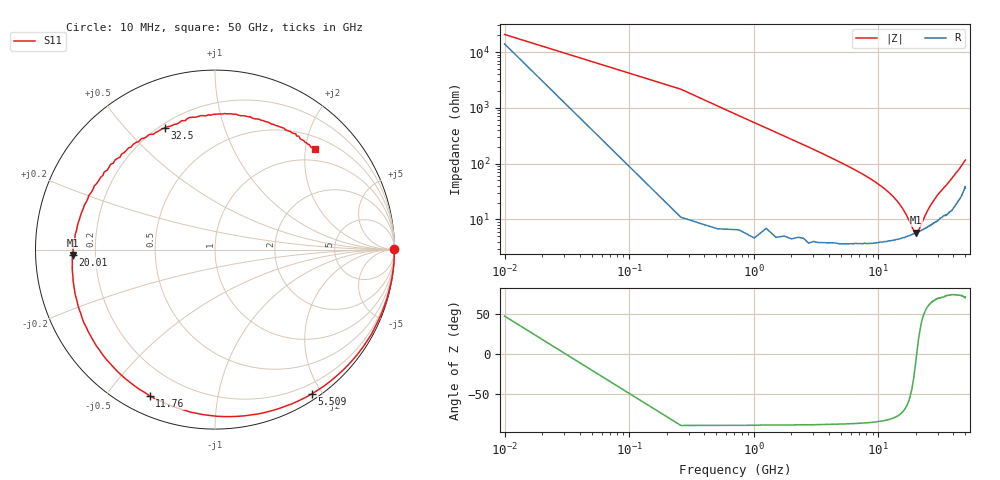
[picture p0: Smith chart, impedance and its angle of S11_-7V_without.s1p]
!Agilent Technologies,N5227A,US51270434,A.10.00.00
!Agilent N5227A: A.10.00.00
!Date: Thursday, February 26, 2026 11:56:34
!Correction: S11(Full 1 Port(1))
!S1P File: Measurement: S11:
# Hz S  dB  R 50
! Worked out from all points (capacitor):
!   201 points, 10 MHz to 50 GHz, reference 50 ohm
!   read as one part to ground: C = 288 fF near 259.9 MHz
!   lowest |Z| = 5.82 ohm at 20.01 GHz (marker M1)
!   series resonance near 20.31 GHz, so ESL is about 210 pH
!   S11 on the Smith chart (normalised r, x): 10 MHz: open; 5.509 GHz: 0.07, -1.88; 11.76 GHz: 0.08, -0.65; 20.01 GHz: 0.11, -0.02; 32.5 GHz: 0.22, +0.65; 50 GHz: 0.73, +2.20
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1e7  -0.03 0.2
1.5097e9  -0.03 -15.6
2.75945e9  -0.08 -28.4
4.25915e9  -0.18 -43.6
5.5089e9  -0.28 -56.0
6.25875e9  -0.35 -63.4
7.5085e9  -0.48 -75.4
9.0082e9  -0.65 -89.5
1.0008e10  -0.77 -98.6
1.175765e10  -0.99 -114.1
1.25075e10  -1.09 -120.5
1.425715e10  -1.30 -135.0
1.575685e10  -1.50 -147.0
1.70066e10  -1.65 -156.6
1.875625e10  -1.88 -169.3
2.0006e10  -2.00 -177.8
2.275545e10  -2.26 164.3
2.5005e10  -2.45 150.7
2.875425e10  -2.57 130.3
3.125375e10  -2.75 118.2
3.25035e10  -2.70 112.5
3.525295e10  -2.51 101.1
3.75025e10  -2.45 90.6
3.975205e10  -2.34 81.0
4.375125e10  -2.30 65.7
4.675065e10  -2.08 55.0
4.975005e10  -2.20 45.3
5e10  -2.02 45.2
